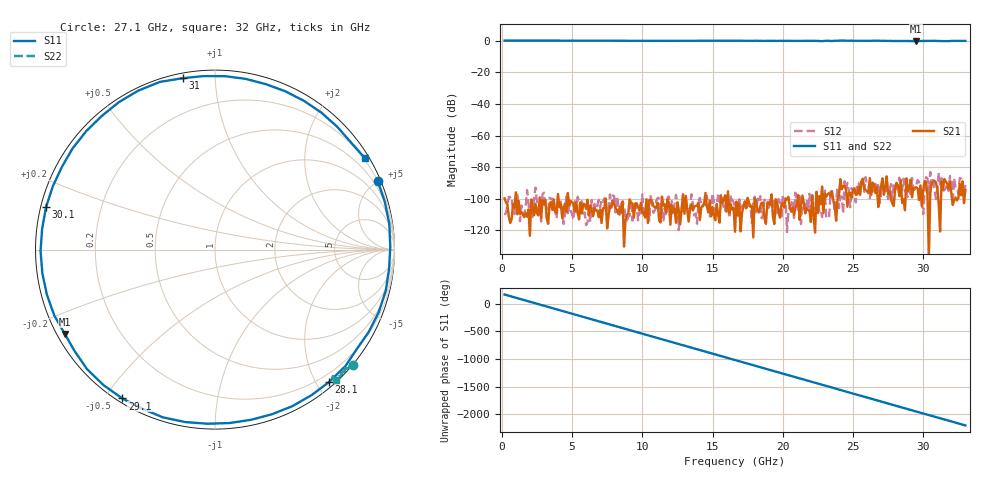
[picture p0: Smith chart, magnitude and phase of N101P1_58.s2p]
# GHZ S RI R 50
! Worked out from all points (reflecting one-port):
!   329 points, 200 MHz to 33 GHz, reference 50 ohm
!   lowest |S11| = -0.4 dB at 29.5 GHz (marker M1), VSWR 48.77, Z = 1.1 - j13.1 ohm
!   phase of S11 starts at 165 deg and turns -2367 deg over the sweep
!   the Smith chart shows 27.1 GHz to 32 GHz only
!   S11 on the Smith chart (normalised r, x): 27.1 GHz: 0.21, +4.92; 28.1 GHz: 0.08, -2.18; 29.1 GHz: 0.02, -0.56; 30.1 GHz: 0.02, +0.12; 31 GHz: 0.02, +0.83; 32 GHz: 0.15, +3.53
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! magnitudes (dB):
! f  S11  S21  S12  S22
! 200 MHz  0.0  -99.7  -110.2  0.0
! 5.7 GHz  -0.1  -109.1  -101.5  0.0
! 11.2 GHz  -0.2  -113.7  -99.8  -0.1
! 16.6 GHz  -0.1  -120.8  -104.9  0.0
! 19.9 GHz  -0.2  -104.0  -112.5  -0.2
! 21.9 GHz  -0.3  -107.4  -96.8  -0.1
! 22.1 GHz  -0.1  -98.1  -97.5  0.0
! 22.7 GHz  -0.3  -103.5  -106.8  -0.2
! 23.3 GHz  -0.1  -96.4  -111.9  0.0
! 23.5 GHz  -0.3  -95.1  -99.6  -0.2
! 24.1 GHz  0.1  -87.6  -98.2  0.2
! 25.1 GHz  -0.2  -93.3  -96.1  0.0
! 27.1 GHz  -0.1  -87.1  -90.2  0.0
! 27.6 GHz  -0.2  -95.1  -94.9  0.0
! 28.1 GHz  -0.2  -89.9  -93.6  -0.1
! 29.1 GHz  -0.2  -87.8  -97.1  -0.1
! 29.5 GHz  -0.4  -92.7  -91.2  -0.2
! 30.1 GHz  -0.3  -88.7  -95.2  -0.1
! 31 GHz  -0.2  -93.5  -95.3  -0.1
! 31.9 GHz  -0.3  -89.4  -85.7  -0.3
! 32 GHz  -0.2  -96.6  -88.4  -0.1
! 33 GHz  -0.2  -94.4  -91.2  0.0
